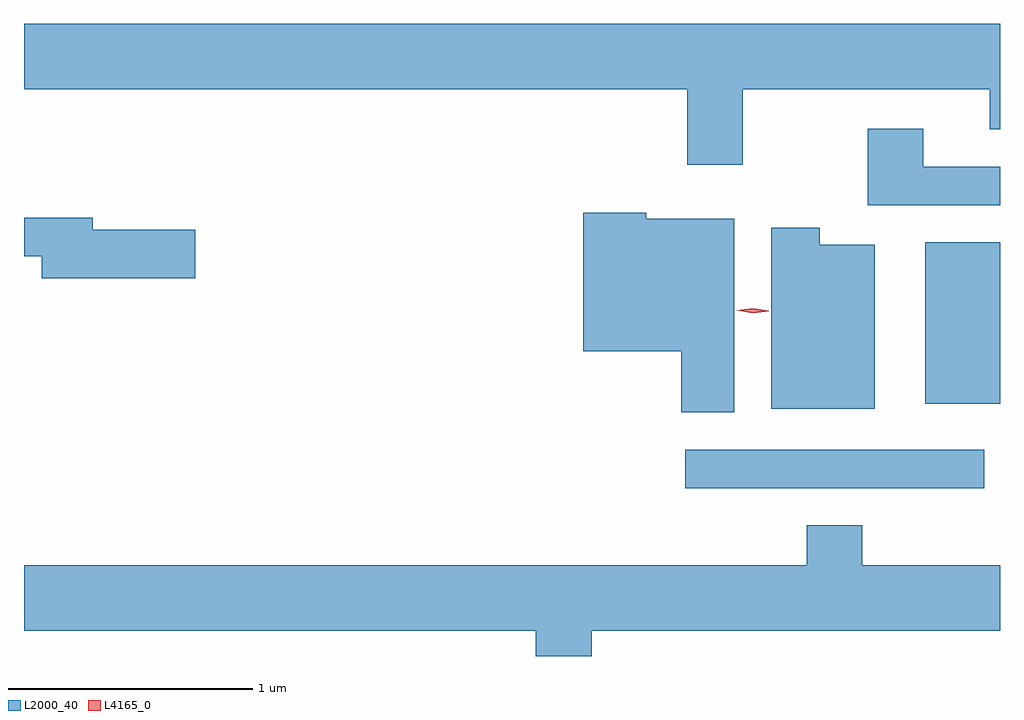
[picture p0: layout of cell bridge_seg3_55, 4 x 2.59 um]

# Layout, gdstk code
import gdstk
lib = gdstk.Library(unit=1e-6, precision=1e-09)
def R(c, l, rs):  # rectangles x0, y0, x1, y1
    for r in rs: c.add(gdstk.rectangle(r[:2], r[2:], *l))
def P(c, l, *ps):  # polygons
    for p in ps: c.add(gdstk.Polygon(p, *l))
L2000_40 = (2000, 40)
L4165_0 = (4165, 0)

bridge_seg3_55 = lib.new_cell('bridge_seg3_55')
R(bridge_seg3_55, L2000_40, [(1167.323,1215.401,1168.548,1215.559), (1168.306,1215.746,1168.613,1216.409)])
P(bridge_seg3_55, L2000_40, [(1167.559,1217.036),(1168.571,1217.036),(1168.571,1216.871),(1168.613,1216.871),(1168.613,1217.304),(1164.613,1217.304),(1164.613,1217.036),(1167.331,1217.036),(1167.331,1216.726),(1167.559,1216.726)],
  [(1168.613,1216.719),(1168.299,1216.719),(1168.299,1216.874),(1168.071,1216.874),(1168.071,1216.561),(1168.613,1216.561)],
  [(1167.524,1216.504),(1167.164,1216.504),(1167.164,1216.529),(1166.906,1216.529),(1166.906,1215.961),(1167.306,1215.961),(1167.306,1215.711),(1167.524,1215.711)],
  [(1165.314,1216.459),(1164.894,1216.459),(1164.894,1216.509),(1164.613,1216.509),(1164.613,1216.351),(1164.686,1216.351),(1164.686,1216.261),(1165.314,1216.261)],
  [(1168.099,1216.399),(1167.874,1216.399),(1167.874,1216.469),(1167.676,1216.469),(1167.676,1215.726),(1168.099,1215.726)],
  [(1166.939,1214.816),(1168.613,1214.816),(1168.613,1215.084),(1168.049,1215.084),(1168.049,1215.249),(1167.821,1215.249),(1167.821,1215.084),(1164.613,1215.084),(1164.613,1214.816),(1166.711,1214.816),(1166.711,1214.712),(1166.939,1214.712)])
P(bridge_seg3_55, L4165_0, [(1167.6,1216.118),(1167.534,1216.129),(1167.533,1216.129),(1167.534,1216.13),(1167.6,1216.138),(1167.666,1216.128),(1167.666,1216.127),(1167.666,1216.126)])

lib.write_gds('bridge_seg3_55.gds')
